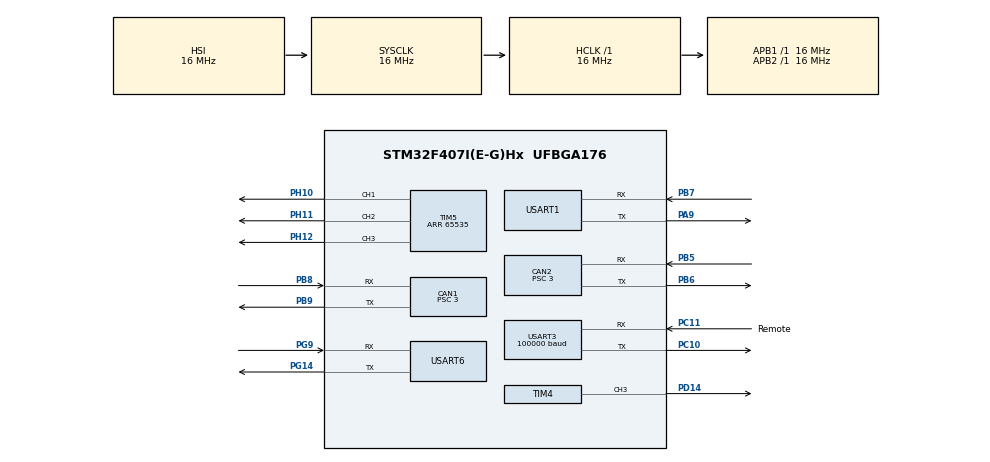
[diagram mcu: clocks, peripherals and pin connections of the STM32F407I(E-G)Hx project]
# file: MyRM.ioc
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CAN1.ABOM=ENABLE
CAN1.AWUM=ENABLE
CAN1.BS1=CAN_BS1_10TQ
CAN1.BS2=CAN_BS2_3TQ
CAN1.CalculateBaudRate=380952
CAN1.CalculateTimeBit=2625
CAN1.CalculateTimeQuantum=187.5
CAN1.Mode=CAN_MODE_LOOPBACK
CAN1.NART=ENABLE
CAN1.Prescaler=3
CAN1.TTCM=DISABLE
CAN2.ABOM=ENABLE
CAN2.AWUM=ENABLE
CAN2.BS1=CAN_BS1_10TQ
CAN2.BS2=CAN_BS2_3TQ
CAN2.CalculateBaudRate=380952
CAN2.CalculateTimeBit=2625
CAN2.CalculateTimeQuantum=187.5
CAN2.Mode=CAN_MODE_LOOPBACK
CAN2.NART=ENABLE
CAN2.Prescaler=3
Dma.Request0=USART3_RX
Dma.USART3_RX.0.Direction=DMA_PERIPH_TO_MEMORY
Dma.USART3_RX.0.FIFOMode=DMA_FIFOMODE_DISABLE
Dma.USART3_RX.0.Instance=DMA1_Stream1
Dma.USART3_RX.0.MemDataAlignment=DMA_MDATAALIGN_BYTE
Dma.USART3_RX.0.MemInc=DMA_MINC_ENABLE
Dma.USART3_RX.0.Mode=DMA_NORMAL
Dma.USART3_RX.0.PeriphDataAlignment=DMA_PDATAALIGN_BYTE
Dma.USART3_RX.0.PeriphInc=DMA_PINC_DISABLE
Dma.USART3_RX.0.Priority=DMA_PRIORITY_VERY_HIGH
IWDG.Prescaler=IWDG_PRESCALER_8
Mcu.Family=STM32F4
Mcu.Name=STM32F407I(E-G)Hx
Mcu.Package=UFBGA176
NVIC.CAN1_RX0_IRQn=true\:1\:1\:true\:false\:true\:true\:true\:true
NVIC.CAN2_RX1_IRQn=true\:1\:1\:true\:false\:true\:true\:true\:true
NVIC.DMA1_Stream1_IRQn=true\:0\:0\:false\:false\:true\:false\:true\:true
NVIC.PriorityGroup=NVIC_PRIORITYGROUP_2
NVIC.TIM6_DAC_IRQn=true\:0\:0\:false\:false\:true\:true\:true\:true
NVIC.TIM7_IRQn=true\:2\:2\:true\:false\:true\:true\:true\:true
NVIC.USART1_IRQn=true\:0\:0\:false\:false\:true\:true\:true\:true
NVIC.USART3_IRQn=true\:1\:1\:true\:false\:true\:true\:true\:true
NVIC.USART6_IRQn=true\:0\:0\:false\:false\:true\:true\:true\:true
PA13.Mode=Serial_Wire
PA13.Signal=SYS_JTMS-SWDIO
PA14.Mode=Serial_Wire
PA14.Signal=SYS_JTCK-SWCLK
PA9.Mode=Asynchronous
PA9.Signal=USART1_TX
PB5.Mode=CAN_Activate
PB5.Signal=CAN2_RX
PB6.Mode=CAN_Activate
PB6.Signal=CAN2_TX
PB7.Mode=Asynchronous
PB7.Signal=USART1_RX
PB8.GPIO_PuPd=GPIO_PULLUP
PB8.Mode=CAN_Activate
PB8.Signal=CAN1_RX
PB9.GPIO_PuPd=GPIO_PULLUP
PB9.Mode=CAN_Activate
PB9.Signal=CAN1_TX
PC10.Mode=Asynchronous
PC10.Signal=USART3_TX
PC11.GPIO_Label=Remote
PC11.GPIO_PuPd=GPIO_PULLUP
PC11.GPIO_Speed=GPIO_SPEED_FREQ_HIGH
PC11.Mode=Asynchronous
PC11.Signal=USART3_RX
PD14.GPIO_PuPd=GPIO_PULLUP
PD14.GPIO_Speed=GPIO_SPEED_FREQ_HIGH
PD14.Signal=S_TIM4_CH3
PG14.Mode=Asynchronous
PG14.Signal=USART6_TX
PG9.Mode=Asynchronous
PG9.Signal=USART6_RX
PH0-OSC_IN.Mode=HSE-External-Oscillator
PH0-OSC_IN.Signal=RCC_OSC_IN
PH1-OSC_OUT.Mode=HSE-External-Oscillator
PH1-OSC_OUT.Signal=RCC_OSC_OUT
PH10.Signal=S_TIM5_CH1
PH11.Signal=S_TIM5_CH2
PH12.Signal=S_TIM5_CH3
ProjectManager.HeapSize=0x200
ProjectManager.StackSize=0x400
ProjectManager.TargetToolchain=MDK-ARM V5.32
RCC.AHBFreq_Value=16000000
RCC.APB1Freq_Value=16000000
RCC.APB2Freq_Value=16000000
RCC.CortexFreq_Value=16000000
RCC.HSE_VALUE=25000000
RCC.HSI_VALUE=16000000
RCC.LSE_VALUE=32768
RCC.SYSCLKFreq_VALUE=16000000
RCC.VCOOutputFreq_Value=192000000
SH.S_TIM4_CH3.0=TIM4_CH3,PWM Generation3 CH3
SH.S_TIM5_CH1.0=TIM5_CH1,PWM Generation1 CH1
SH.S_TIM5_CH2.0=TIM5_CH2,PWM Generation2 CH2
SH.S_TIM5_CH3.0=TIM5_CH3,PWM Generation3 CH3
TIM4.Channel-PWM\ Generation3\ CH3=TIM_CHANNEL_3
TIM4.Period=10-1
TIM4.Prescaler=19091-1
TIM5.Channel-PWM\ Generation1\ CH1=TIM_CHANNEL_1
TIM5.Channel-PWM\ Generation2\ CH2=TIM_CHANNEL_2
TIM5.Channel-PWM\ Generation3\ CH3=TIM_CHANNEL_3
TIM5.Period=65535
TIM6.Period=500-1
TIM6.Prescaler=336-1
TIM7.Period=2100-1
TIM7.Prescaler=1000-1
USART1.VirtualMode=VM_ASYNC
USART3.BaudRate=100000
USART3.Mode=MODE_RX
USART3.Parity=PARITY_EVEN
USART3.VirtualMode=VM_ASYNC
USART6.VirtualMode=VM_ASYNC
VP_IWDG_VS_IWDG.Mode=IWDG_Activate
VP_TIM5_VS_ClockSourceINT.Mode=Internal
VP_TIM6_VS_ClockSourceINT.Mode=Enable_Timer
VP_TIM7_VS_ClockSourceINT.Mode=Enable_Timer
board=custom

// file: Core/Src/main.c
/* USER CODE BEGIN Header */
/**
  ******************************************************************************
  * @file           : main.c
  * @brief          : Main program body
  ******************************************************************************
  * @attention
  *
  * Copyright (c) 2025 STMicroelectronics.
  * All rights reserved.
  *
  * This software is licensed under terms that can be found in the LICENSE file
  * in the root directory of this software component.
  * If no LICENSE file comes with this software, it is provided AS-IS.
  *
  ******************************************************************************
  */
/* USER CODE END Header */
#include "main.h"
#include "can.h"
#include "dma.h"
#include "iwdg.h"
#include "tim.h"
#include "usart.h"
#include "gpio.h"

/* USER CODE BEGIN Includes */
#include "BSP_CAN.h"
#include "BSP_UART.h"
#include "BSP_led.h"
//#include "struct_typedef.h"
#include "stdio.h"
#include "stdint.h"

/* USER CODE END Includes */

/* USER CODE BEGIN PV */

uint8_t 	TxData[8] = {
  0x11 , 0x22 , 0x33 , 0x44 ,
};
CAN_TxHeaderTypeDef Can_TxHeader = {
  .StdId = 0x555,
  .ExtId = 0x54787878,
  .IDE = CAN_ID_EXT,
  .RTR = CAN_RTR_REMOTE,
  .DLC = 4,
  .TransmitGlobalTime = DISABLE
};
/* USER CODE END PV */

void SystemClock_Config(void);

int main(void)
{

  /* MCU Configuration--------------------------------------------------------*/

  /* Reset of all peripherals, Initializes the Flash interface and the Systick. */
  HAL_Init();

  /* Configure the system clock */
  SystemClock_Config();

  /* Initialize all configured peripherals */
  MX_GPIO_Init();
  MX_DMA_Init();
  MX_CAN1_Init();
  MX_CAN2_Init();
  MX_USART1_UART_Init();
  MX_USART6_UART_Init();
  MX_TIM6_Init();
  MX_TIM5_Init();
  MX_TIM4_Init();
  MX_USART3_UART_Init();
  MX_TIM7_Init();
  MX_IWDG_Init();
  /* USER CODE BEGIN 2 */

  // MyCan_FilterInit();
  HAL_CAN_Start(&hcan1);
  HAL_CAN_Start(&hcan2);
  RGB_Init();
  /* USER CODE END 2 */

  /* Infinite loop */
  /* USER CODE BEGIN WHILE */
  while (1)
  {
    RGB_Red_Turn();
    uint8_t data = 0x63;
    uint32_t Num[10] = {1,2,3,4,5,6,7,8,9,0};
    UART1_TX_u32NumArray(Num , sizeof(Num)/sizeof(Num[0]));

//    uint8_t Byte = 0x55;
//    UART2_SendByte(Byte);
    // MyCan_Transmit(&Can_TxHeader ,TxData);
    HAL_Delay(1000);
    /* USER CODE END WHILE */

  }
}

void SystemClock_Config(void)
{
  RCC_OscInitTypeDef RCC_OscInitStruct = {0};
  RCC_ClkInitTypeDef RCC_ClkInitStruct = {0};

  /** Configure the main internal regulator output voltage
  */
  __HAL_RCC_PWR_CLK_ENABLE();
  __HAL_PWR_VOLTAGESCALING_CONFIG(PWR_REGULATOR_VOLTAGE_SCALE1);

  /** Initializes the RCC Oscillators according to the specified parameters
  * in the RCC_OscInitTypeDef structure.
  */
  RCC_OscInitStruct.OscillatorType = RCC_OSCILLATORTYPE_HSI|RCC_OSCILLATORTYPE_LSI;
  RCC_OscInitStruct.HSIState = RCC_HSI_ON;
  RCC_OscInitStruct.HSICalibrationValue = RCC_HSICALIBRATION_DEFAULT;
  RCC_OscInitStruct.LSIState = RCC_LSI_ON;
  RCC_OscInitStruct.PLL.PLLState = RCC_PLL_NONE;
  if (HAL_RCC_OscConfig(&RCC_OscInitStruct) != HAL_OK)
  {
    Error_Handler();
  }

  /** Initializes the CPU, AHB and APB buses clocks
  */
  RCC_ClkInitStruct.ClockType = RCC_CLOCKTYPE_HCLK|RCC_CLOCKTYPE_SYSCLK
                              |RCC_CLOCKTYPE_PCLK1|RCC_CLOCKTYPE_PCLK2;
  RCC_ClkInitStruct.SYSCLKSource = RCC_SYSCLKSOURCE_HSI;
  RCC_ClkInitStruct.AHBCLKDivider = RCC_SYSCLK_DIV1;
  RCC_ClkInitStruct.APB1CLKDivider = RCC_HCLK_DIV1;
  RCC_ClkInitStruct.APB2CLKDivider = RCC_HCLK_DIV1;

  if (HAL_RCC_ClockConfig(&RCC_ClkInitStruct, FLASH_LATENCY_0) != HAL_OK)
  {
    Error_Handler();
  }
}

void Error_Handler(void)
{
  __disable_irq();
  while (1)
  {
  }
}
